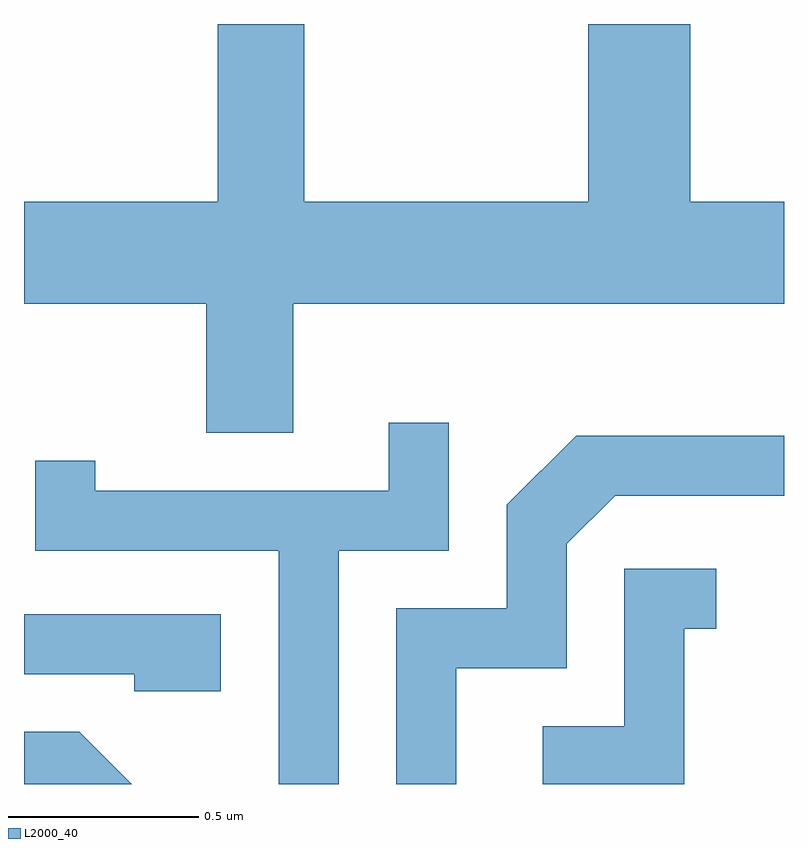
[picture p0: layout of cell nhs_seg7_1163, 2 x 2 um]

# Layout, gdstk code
import gdstk
lib = gdstk.Library(unit=1e-6, precision=1e-09)
def P(c, l, *ps):  # polygons
    for p in ps: c.add(gdstk.Polygon(p, *l))
L2000_40 = (2000, 40)

nhs_seg7_1163 = lib.new_cell('nhs_seg7_1163')
P(nhs_seg7_1163, L2000_40, [(194.319,1736.516),(195.611,1736.516),(195.611,1736.784),(195.364,1736.784),(195.364,1737.252),(195.096,1737.252),(195.096,1736.784),(194.349,1736.784),(194.349,1737.252),(194.121,1737.252),(194.121,1736.784),(193.611,1736.784),(193.611,1736.516),(194.091,1736.516),(194.091,1736.176),(194.319,1736.176)],
  [(194.439,1735.866),(194.729,1735.866),(194.729,1736.203),(194.571,1736.203),(194.571,1736.024),(193.799,1736.024),(193.799,1736.103),(193.641,1736.103),(193.641,1735.866),(194.281,1735.866),(194.281,1735.252),(194.439,1735.252)],
  [(194.749,1735.556),(195.039,1735.556),(195.039,1735.884),(195.167,1736.011),(195.611,1736.011),(195.611,1736.169),(195.064,1736.169),(194.881,1735.987),(194.881,1735.714),(194.591,1735.714),(194.591,1735.252),(194.749,1735.252)],
  [(195.349,1735.661),(195.433,1735.661),(195.433,1735.819),(195.191,1735.819),(195.191,1735.404),(194.976,1735.404),(194.976,1735.252),(195.349,1735.252)],
  [(194.129,1735.699),(193.611,1735.699),(193.611,1735.541),(193.901,1735.541),(193.901,1735.496),(194.129,1735.496)],
  [(193.757,1735.389),(193.611,1735.389),(193.611,1735.252),(193.894,1735.252)])

lib.write_gds('nhs_seg7_1163.gds')
